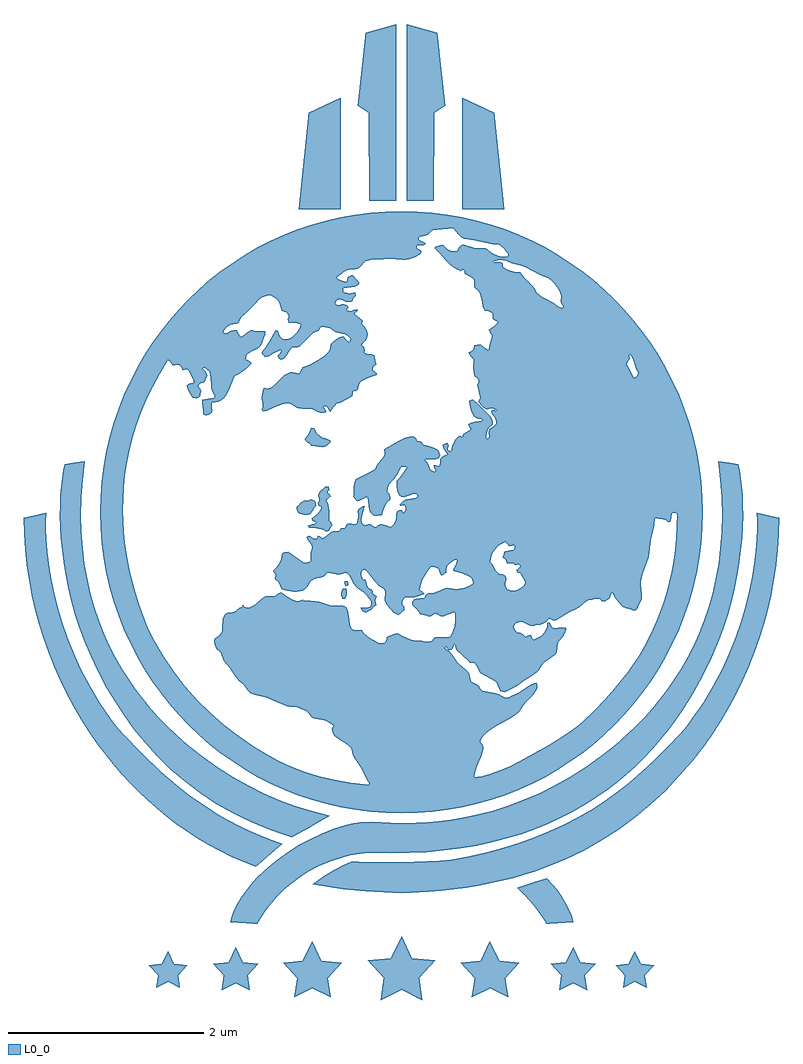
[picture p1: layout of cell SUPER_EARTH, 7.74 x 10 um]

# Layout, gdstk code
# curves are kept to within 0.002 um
import gdstk
lib = gdstk.Library(unit=1e-6, precision=1e-09)
def P(c, l, *ps):  # polygons
    for p in ps: c.add(gdstk.Polygon(p, *l))
L0_0 = (0, 0)

super_earth = lib.new_cell('SUPER_EARTH')
P(super_earth, L0_0, [(-1.499,-3.62),(-1.627,-3.569),(-1.75,-3.514),(-1.87,-3.455),(-1.986,-3.392),(-2.098,-3.325),(-2.207,-3.255),(-2.312,-3.181),(-2.414,-3.103),(-2.512,-3.022),(-2.607,-2.938),(-2.7,-2.85),(-2.875,-2.666),(-2.958,-2.569),(-3.038,-2.469),(-3.116,-2.367),(-3.203,-2.24),(-3.286,-2.111),(-3.363,-1.98),(-3.436,-1.846),(-3.503,-1.71),(-3.565,-1.571),(-3.621,-1.429),(-3.672,-1.285),(-3.718,-1.138),(-3.758,-0.989),(-3.793,-0.838),(-3.821,-0.683),(-3.844,-0.527),(-3.861,-0.368),(-3.872,-0.206),(-3.876,-0.042),(-3.645,0.007),(-3.649,-0.071),(-3.645,-0.268),(-3.636,-0.385),(-3.621,-0.513),(-3.599,-0.65),(-3.57,-0.795),(-3.533,-0.947),(-3.487,-1.105),(-3.432,-1.267),(-3.366,-1.432),(-3.29,-1.598),(-3.202,-1.766),(-3.101,-1.932),(-2.988,-2.096),(-2.86,-2.257),(-2.664,-2.461),(-2.47,-2.645),(-2.277,-2.809),(-2.082,-2.955),(-1.882,-3.084),(-1.779,-3.143),(-1.567,-3.249),(-1.457,-3.297),(-1.344,-3.342),(-1.228,-3.383)],
  [(2.264,-4.857),(2.283,-4.728),(2.19,-4.626),(2.322,-4.612),(2.385,-4.483),(2.446,-4.613),(2.581,-4.626),(2.488,-4.728),(2.507,-4.857),(2.386,-4.796)],
  [(1.61,-4.884),(1.632,-4.733),(1.522,-4.613),(1.678,-4.597),(1.752,-4.445),(1.752,-4.445),(1.824,-4.597),(1.983,-4.613),(1.873,-4.733),(1.895,-4.884),(1.753,-4.813)],
  [(-2.519,-4.857),(-2.5,-4.728),(-2.594,-4.626),(-2.461,-4.612),(-2.398,-4.483),(-2.398,-4.483),(-2.337,-4.613),(-2.202,-4.626),(-2.295,-4.728),(-2.276,-4.857),(-2.397,-4.796)],
  [(-1.846,-4.884),(-1.825,-4.733),(-1.934,-4.613),(-1.778,-4.597),(-1.704,-4.445),(-1.704,-4.445),(-1.633,-4.597),(-1.474,-4.613),(-1.583,-4.733),(-1.561,-4.884),(-1.704,-4.813)],
  [(0.715,-4.956),(0.743,-4.759),(0.601,-4.603),(0.804,-4.582),(0.9,-4.384),(0.9,-4.384),(0.993,-4.582),(1.201,-4.603),(1.058,-4.759),(1.086,-4.956),(0.901,-4.864)],
  [(-1.105,-4.956),(-1.076,-4.759),(-1.219,-4.603),(-1.016,-4.582),(-0.919,-4.384),(-0.919,-4.384),(-0.826,-4.582),(-0.619,-4.603),(-0.762,-4.759),(-0.733,-4.956),(-0.919,-4.864)],
  [(-0.219,-4.984),(-0.186,-4.758),(-0.35,-4.579),(-0.117,-4.555),(-0.006,-4.329),(-0.006,-4.329),(0.1,-4.556),(0.338,-4.579),(0.174,-4.758),(0.207,-4.984),(-0.006,-4.878)],
  [(-0.583,-0.746),(-0.589,-0.716),(-0.589,-0.716),(-0.591,-0.708),(-0.589,-0.692),(-0.559,-0.692),(-0.554,-0.713),(-0.553,-0.734),(-0.565,-0.741)],
  [(-0.613,-0.874),(-0.613,-0.862),(-0.622,-0.841),(-0.622,-0.816),(-0.616,-0.792),(-0.607,-0.771),(-0.571,-0.771),(-0.565,-0.819),(-0.57,-0.843),(-0.583,-0.868),(-0.583,-0.874),(-0.599,-0.871)],
  [(-0.98,-0.015),(-1.007,-0.012),(-1.057,0.001),(-1.078,0.046),(-1.081,0.068),(-1.021,0.123),(-0.996,0.134),(-0.981,0.129),(-0.966,0.131),(-0.941,0.146),(-0.922,0.143),(-0.907,0.136),(-0.895,0.125),(-0.882,0.098),(-0.881,0.08),(-0.936,0.005),(-0.947,-0.005),(-0.96,-0.011)],
  [(-0.816,0.68),(-0.854,0.682),(-0.929,0.693),(-0.948,0.713),(-0.983,0.74),(-0.996,0.76),(-0.958,0.819),(-0.929,0.881),(-0.899,0.875),(-0.885,0.84),(-0.867,0.815),(-0.844,0.796),(-0.814,0.778),(-0.762,0.763),(-0.742,0.753),(-0.734,0.743),(-0.729,0.73),(-0.77,0.696),(-0.783,0.687)],
  [(-0.777,-0.188),(-0.792,-0.176),(-0.81,-0.167),(-0.854,-0.154),(-0.903,-0.147),(-0.953,-0.145),(-0.966,-0.127),(-0.896,-0.103),(-0.881,-0.09),(-0.909,-0.078),(-0.918,-0.067),(-0.923,-0.048),(-0.896,-0.029),(-0.865,0),(-0.839,0.035),(-0.83,0.052),(-0.826,0.068),(-0.841,0.073),(-0.852,0.081),(-0.862,0.11),(-0.847,0.131),(-0.859,0.186),(-0.856,0.201),(-0.845,0.221),(-0.789,0.274),(-0.753,0.274),(-0.747,0.238),(-0.759,0.229),(-0.759,0.201),(-0.745,0.2),(-0.735,0.183),(-0.729,0.183),(-0.727,0.179),(-0.735,0.177),(-0.769,0.144),(-0.777,0.128),(-0.764,0.112),(-0.755,0.088),(-0.745,0.03),(-0.744,-0.029),(-0.747,-0.072),(-0.726,-0.09),(-0.72,-0.102),(-0.717,-0.121),(-0.732,-0.139),(-0.741,-0.16),(-0.753,-0.178)],
  [(-0.006,-3.888),(-0.371,-3.87),(-0.601,-3.85),(-0.76,-3.826),(-0.913,-3.797),(-0.8,-3.715),(-0.7,-3.654),(-0.605,-3.605),(-0.511,-3.565),(-0.373,-3.572),(-0.006,-3.571),(0.385,-3.558),(0.505,-3.547),(0.692,-3.509),(0.871,-3.468),(1.041,-3.422),(1.203,-3.372),(1.359,-3.317),(1.509,-3.257),(1.654,-3.191),(1.794,-3.118),(1.931,-3.039),(2.064,-2.953),(2.196,-2.859),(2.326,-2.756),(2.456,-2.645),(2.585,-2.526),(2.716,-2.396),(2.848,-2.257),(2.914,-2.177),(2.975,-2.096),(3.089,-1.932),(3.19,-1.766),(3.278,-1.598),(3.354,-1.432),(3.42,-1.267),(3.475,-1.105),(3.521,-0.947),(3.558,-0.795),(3.587,-0.65),(3.609,-0.513),(3.624,-0.385),(3.633,-0.268),(3.637,-0.163),(3.637,-0.071),(3.633,0.007),(3.864,-0.042),(3.86,-0.206),(3.849,-0.368),(3.832,-0.527),(3.809,-0.683),(3.781,-0.838),(3.746,-0.989),(3.706,-1.138),(3.66,-1.285),(3.609,-1.429),(3.553,-1.571),(3.491,-1.71),(3.424,-1.846),(3.351,-1.98),(3.274,-2.111),(3.191,-2.24),(3.104,-2.367),(2.977,-2.531),(2.842,-2.689),(2.7,-2.838),(2.55,-2.979),(2.391,-3.111),(2.224,-3.235),(2.048,-3.349),(1.862,-3.453),(1.667,-3.547),(1.565,-3.59),(1.354,-3.668),(1.133,-3.735),(1.018,-3.764),(0.779,-3.813),(0.656,-3.834),(0.4,-3.865),(0.268,-3.876)],
  [(-1.059,3.116),(-0.955,4.108),(-0.627,4.261),(-0.627,3.116)],
  [(-0.335,3.202),(-0.341,4.108),(-0.456,4.175),(-0.371,4.924),(-0.061,5.015),(-0.061,3.202)],
  [(0.615,3.116),(0.615,4.261),(0.943,4.108),(1.047,3.116)],
  [(0.049,3.202),(0.049,5.015),(0.359,4.924),(0.444,4.175),(0.329,4.108),(0.323,3.202)],
  [(1.479,-4.204),(1.407,-4.089),(1.366,-4.033),(1.315,-3.97),(1.253,-3.904),(1.181,-3.835),(1.331,-3.783),(1.482,-3.735),(1.538,-3.796),(1.588,-3.857),(1.631,-3.917),(1.668,-3.976),(1.699,-4.033),(1.723,-4.087),(1.741,-4.138),(1.753,-4.186)],
  [(-1.129,-3.316),(-1.342,-3.246),(-1.443,-3.206),(-1.542,-3.164),(-1.73,-3.072),(-1.907,-2.971),(-2.073,-2.861),(-2.228,-2.743),(-2.373,-2.618),(-2.508,-2.487),(-2.632,-2.35),(-2.747,-2.208),(-2.853,-2.063),(-2.95,-1.914),(-3.039,-1.763),(-3.119,-1.61),(-3.191,-1.456),(-3.256,-1.302),(-3.307,-1.164),(-3.351,-1.028),(-3.389,-0.892),(-3.421,-0.758),(-3.447,-0.627),(-3.468,-0.498),(-3.484,-0.373),(-3.502,-0.136),(-3.505,-0.024),(-3.5,0.181),(-3.483,0.359),(-3.471,0.437),(-3.456,0.506),(-3.25,0.536),(-3.272,0.346),(-3.286,0.161),(-3.29,-0.017),(-3.286,-0.189),(-3.274,-0.354),(-3.254,-0.514),(-3.227,-0.668),(-3.194,-0.817),(-3.154,-0.959),(-3.108,-1.096),(-3.056,-1.228),(-2.999,-1.354),(-2.938,-1.474),(-2.872,-1.59),(-2.802,-1.7),(-2.729,-1.805),(-2.653,-1.905),(-2.574,-2),(-2.493,-2.091),(-2.326,-2.257),(-2.24,-2.334),(-2.068,-2.473),(-1.897,-2.595),(-1.731,-2.701),(-1.572,-2.791),(-1.424,-2.866),(-1.258,-2.936),(-1.089,-2.998),(-0.917,-3.051),(-0.741,-3.095),(-0.942,-3.214)],
  [(-1.485,-4.204),(-1.759,-4.186),(-1.745,-4.131),(-1.723,-4.071),(-1.692,-4.008),(-1.654,-3.942),(-1.606,-3.874),(-1.551,-3.804),(-1.487,-3.734),(-1.416,-3.663),(-1.336,-3.593),(-1.249,-3.525),(-1.154,-3.459),(-1.051,-3.396),(-0.941,-3.337),(-0.823,-3.282),(-0.698,-3.232),(-0.566,-3.188),(-0.497,-3.173),(-0.421,-3.164),(-0.304,-3.158),(-0.123,-3.169),(0.045,-3.172),(0.146,-3.17),(0.256,-3.164),(0.376,-3.153),(0.505,-3.136),(0.641,-3.113),(0.784,-3.082),(0.934,-3.043),(1.089,-2.994),(1.248,-2.935),(1.412,-2.866),(1.56,-2.791),(1.719,-2.701),(1.885,-2.595),(2.056,-2.473),(2.228,-2.334),(2.314,-2.257),(2.481,-2.091),(2.562,-2),(2.641,-1.905),(2.717,-1.805),(2.79,-1.7),(2.86,-1.59),(2.926,-1.474),(2.987,-1.354),(3.044,-1.228),(3.096,-1.096),(3.142,-0.959),(3.182,-0.817),(3.215,-0.668),(3.242,-0.514),(3.262,-0.354),(3.274,-0.189),(3.278,-0.017),(3.274,0.161),(3.26,0.346),(3.238,0.536),(3.444,0.506),(3.459,0.437),(3.471,0.359),(3.488,0.181),(3.493,-0.024),(3.483,-0.252),(3.472,-0.373),(3.456,-0.498),(3.435,-0.627),(3.409,-0.758),(3.377,-0.892),(3.339,-1.028),(3.295,-1.164),(3.244,-1.302),(3.155,-1.51),(3.105,-1.613),(2.994,-1.82),(2.869,-2.022),(2.727,-2.219),(2.65,-2.315),(2.568,-2.409),(2.483,-2.5),(2.392,-2.589),(2.297,-2.675),(2.198,-2.758),(2.093,-2.838),(1.984,-2.914),(1.87,-2.986),(1.75,-3.055),(1.626,-3.119),(1.496,-3.179),(1.36,-3.234),(1.22,-3.284),(1.073,-3.329),(0.921,-3.369),(0.764,-3.403),(0.6,-3.431),(0.43,-3.452),(0.254,-3.468),(0.072,-3.477),(-0.116,-3.479),(-0.31,-3.474),(-0.387,-3.48),(-0.533,-3.503),(-0.601,-3.519),(-0.73,-3.56),(-0.847,-3.609),(-0.954,-3.665),(-1.05,-3.726),(-1.136,-3.791),(-1.212,-3.857),(-1.278,-3.923),(-1.334,-3.986),(-1.419,-4.097)],
  [(-0.006,-3.072),(-0.165,-3.068),(-0.321,-3.056),(-0.476,-3.037),(-0.628,-3.01),(-0.777,-2.975),(-0.923,-2.934),(-1.067,-2.885),(-1.207,-2.83),(-1.344,-2.768),(-1.477,-2.7),(-1.606,-2.626),(-1.731,-2.545),(-1.852,-2.459),(-1.969,-2.368),(-2.08,-2.271),(-2.188,-2.169),(-2.29,-2.062),(-2.387,-1.95),(-2.478,-1.833),(-2.564,-1.712),(-2.645,-1.587),(-2.719,-1.458),(-2.787,-1.325),(-2.849,-1.188),(-2.904,-1.048),(-2.953,-0.905),(-2.994,-0.758),(-3.029,-0.609),(-3.056,-0.457),(-3.075,-0.303),(-3.087,-0.146),(-3.091,0.013),(-3.087,0.172),(-3.075,0.328),(-3.056,0.483),(-3.029,0.635),(-2.994,0.784),(-2.953,0.93),(-2.904,1.074),(-2.849,1.214),(-2.787,1.351),(-2.719,1.484),(-2.645,1.613),(-2.564,1.738),(-2.478,1.859),(-2.387,1.975),(-2.29,2.087),(-2.188,2.195),(-2.08,2.297),(-1.969,2.394),(-1.852,2.485),(-1.731,2.571),(-1.606,2.652),(-1.477,2.726),(-1.344,2.794),(-1.207,2.856),(-1.034,2.922),(0.522,2.922),(0.316,2.904),(0.297,2.893),(0.267,2.862),(0.249,2.849),(0.193,2.838),(0.176,2.831),(0.171,2.821),(0.17,2.807),(0.23,2.773),(0.243,2.758),(0.22,2.75),(0.2,2.747),(0.152,2.746),(0.152,2.722),(0.2,2.685),(0.188,2.655),(0.129,2.627),(0.067,2.606),(0.035,2.601),(0.002,2.6),(-0.131,2.611),(-0.194,2.606),(-0.291,2.606),(-0.336,2.597),(-0.376,2.582),(-0.396,2.564),(-0.432,2.523),(-0.455,2.509),(-0.48,2.503),(-0.527,2.502),(-0.553,2.497),(-0.586,2.483),(-0.615,2.463),(-0.668,2.418),(-0.662,2.406),(-0.641,2.395),(-0.582,2.376),(-0.565,2.375),(-0.559,2.418),(-0.522,2.439),(-0.504,2.442),(-0.472,2.401),(-0.437,2.363),(-0.447,2.342),(-0.485,2.325),(-0.601,2.309),(-0.601,2.272),(-0.586,2.264),(-0.546,2.254),(-0.48,2.266),(-0.474,2.23),(-0.502,2.204),(-0.512,2.177),(-0.522,2.172),(-0.577,2.169),(-0.606,2.186),(-0.623,2.191),(-0.657,2.191),(-0.671,2.183),(-0.681,2.17),(-0.686,2.151),(-0.667,2.138),(-0.638,2.132),(-0.62,2.142),(-0.598,2.143),(-0.576,2.137),(-0.559,2.126),(-0.553,2.108),(-0.565,2.084),(-0.547,2.075),(-0.522,2.072),(-0.507,2.082),(-0.49,2.088),(-0.455,2.09),(-0.455,2.078),(-0.462,2.078),(-0.467,2.069),(-0.479,2.061),(-0.486,2.047),(-0.492,2.047),(-0.494,2.044),(-0.486,2.041),(-0.401,1.974),(-0.413,1.944),(-0.386,1.919),(-0.363,1.879),(-0.356,1.857),(-0.353,1.834),(-0.355,1.812),(-0.364,1.792),(-0.376,1.772),(-0.403,1.745),(-0.413,1.725),(-0.395,1.711),(-0.387,1.695),(-0.385,1.674),(-0.389,1.646),(-0.364,1.637),(-0.311,1.63),(-0.285,1.622),(-0.267,1.525),(-0.294,1.502),(-0.3,1.486),(-0.298,1.47),(-0.287,1.456),(-0.263,1.44),(-0.255,1.422),(-0.355,1.385),(-0.406,1.362),(-0.425,1.348),(-0.437,1.331),(-0.456,1.27),(-0.468,1.258),(-0.477,1.255),(-0.498,1.258),(-0.506,1.231),(-0.51,1.203),(-0.632,1.136),(-0.674,1.124),(-0.735,1.045),(-0.747,1.051),(-0.762,1.085),(-0.771,1.094),(-0.79,1.1),(-0.808,1.088),(-0.777,1.051),(-0.783,1.039),(-0.796,1.034),(-0.84,1.031),(-0.868,1.042),(-0.917,1.07),(-0.949,1.075),(-1.022,1.071),(-1.057,1.076),(-1.079,1.086),(-1.124,1.114),(-1.148,1.124),(-1.168,1.128),(-1.188,1.128),(-1.229,1.121),(-1.271,1.106),(-1.384,1.054),(-1.412,1.047),(-1.424,1.047),(-1.433,1.051),(-1.439,1.07),(-1.43,1.087),(-1.426,1.103),(-1.436,1.171),(-1.436,1.192),(-1.421,1.276),(-1.409,1.288),(-1.372,1.279),(-1.36,1.282),(-1.334,1.296),(-1.308,1.316),(-1.205,1.415),(-1.177,1.434),(-1.148,1.446),(-1.123,1.447),(-1.051,1.434),(-1.02,1.501),(-0.985,1.51),(-0.946,1.525),(-0.863,1.569),(-0.789,1.621),(-0.76,1.647),(-0.741,1.671),(-0.729,1.732),(-0.709,1.756),(-0.676,1.783),(-0.637,1.806),(-0.601,1.817),(-0.574,1.78),(-0.555,1.765),(-0.534,1.756),(-0.528,1.792),(-0.568,1.827),(-0.583,1.835),(-0.656,1.851),(-0.68,1.859),(-0.735,1.896),(-0.786,1.909),(-0.826,1.914),(-0.838,1.905),(-0.847,1.882),(-0.856,1.871),(-0.911,1.853),(-1.051,1.707),(-1.067,1.703),(-1.105,1.705),(-1.123,1.701),(-1.139,1.69),(-1.187,1.614),(-1.203,1.596),(-1.221,1.582),(-1.245,1.574),(-1.264,1.59),(-1.275,1.616),(-1.252,1.639),(-1.244,1.653),(-1.239,1.671),(-1.264,1.667),(-1.286,1.659),(-1.365,1.613),(-1.386,1.606),(-1.409,1.604),(-1.417,1.619),(-1.433,1.636),(-1.439,1.653),(-1.397,1.704),(-1.361,1.759),(-1.294,1.877),(-1.275,1.871),(-1.258,1.826),(-1.245,1.806),(-1.227,1.792),(-1.2,1.783),(-1.17,1.787),(-1.138,1.801),(-1.108,1.823),(-1.08,1.851),(-1.058,1.881),(-1.043,1.911),(-1.038,1.938),(-1.077,1.953),(-1.103,1.956),(-1.16,1.956),(-1.168,1.971),(-1.172,1.993),(-1.161,2.009),(-1.16,2.023),(-1.171,2.046),(-1.187,2.06),(-1.233,2.078),(-1.254,2.151),(-1.269,2.181),(-1.294,2.205),(-1.348,2.236),(-1.387,2.232),(-1.418,2.223),(-1.444,2.209),(-1.466,2.192),(-1.543,2.108),(-1.599,2.058),(-1.652,2.005),(-1.673,1.962),(-1.682,1.95),(-1.696,1.943),(-1.749,1.938),(-1.776,1.926),(-1.802,1.906),(-1.823,1.881),(-1.834,1.853),(-1.792,1.847),(-1.773,1.86),(-1.75,1.87),(-1.694,1.877),(-1.676,1.842),(-1.652,1.811),(-1.612,1.833),(-1.567,1.869),(-1.551,1.875),(-1.53,1.877),(-1.503,1.867),(-1.403,1.865),(-1.403,1.829),(-1.417,1.802),(-1.437,1.741),(-1.451,1.713),(-1.469,1.696),(-1.492,1.682),(-1.564,1.647),(-1.584,1.631),(-1.597,1.609),(-1.603,1.58),(-1.572,1.564),(-1.543,1.543),(-1.549,1.531),(-1.597,1.482),(-1.652,1.44),(-1.7,1.415),(-1.713,1.404),(-1.741,1.352),(-1.791,1.23),(-1.805,1.205),(-1.822,1.185),(-1.851,1.161),(-1.883,1.143),(-1.943,1.136),(-1.948,1.127),(-1.949,1.114),(-1.946,1.055),(-1.949,1.033),(-1.963,1.022),(-1.982,1.012),(-2.001,1.007),(-2.035,1.015),(-2.048,1.13),(-2.047,1.167),(-1.925,1.185),(-1.919,1.209),(-1.936,1.231),(-1.947,1.256),(-1.954,1.285),(-1.968,1.452),(-2.018,1.488),(-2.041,1.495),(-2.041,1.483),(-2.013,1.453),(-2.003,1.434),(-1.998,1.41),(-2.022,1.349),(-2.042,1.338),(-2.062,1.332),(-2.079,1.322),(-2.085,1.313),(-2.089,1.3),(-2.069,1.278),(-2.059,1.246),(-2.075,1.196),(-2.089,1.185),(-2.102,1.18),(-2.144,1.185),(-2.196,1.276),(-2.205,1.313),(-2.181,1.33),(-2.167,1.335),(-2.144,1.337),(-2.144,1.331),(-2.14,1.329),(-2.133,1.346),(-2.132,1.361),(-2.149,1.39),(-2.18,1.456),(-2.191,1.468),(-2.205,1.477),(-2.247,1.47),(-2.268,1.509),(-2.285,1.521),(-2.314,1.525),(-2.329,1.52),(-2.35,1.519),(-2.368,1.549),(-2.381,1.561),(-2.399,1.568),(-2.483,1.433),(-2.556,1.299),(-2.621,1.166),(-2.677,1.033),(-2.724,0.902),(-2.764,0.771),(-2.796,0.643),(-2.821,0.516),(-2.839,0.391),(-2.852,0.268),(-2.859,0.149),(-2.86,0.032),(-2.857,-0.082),(-2.84,-0.299),(-2.826,-0.402),(-2.79,-0.595),(-2.746,-0.769),(-2.699,-0.923),(-2.652,-1.053),(-2.609,-1.159),(-2.539,-1.305),(-2.441,-1.47),(-2.334,-1.626),(-2.219,-1.773),(-2.097,-1.911),(-1.966,-2.041),(-1.827,-2.163),(-1.68,-2.278),(-1.524,-2.386),(-1.398,-2.463),(-1.27,-2.532),(-1.138,-2.593),(-1.001,-2.647),(-0.854,-2.692),(-0.697,-2.73),(-0.526,-2.76),(-0.34,-2.781),(-0.334,-2.757),(-0.35,-2.742),(-0.363,-2.724),(-0.425,-2.599),(-0.488,-2.504),(-0.504,-2.471),(-0.515,-2.42),(-0.522,-2.404),(-0.546,-2.379),(-0.574,-2.357),(-0.667,-2.299),(-0.693,-2.275),(-0.712,-2.244),(-0.723,-2.204),(-0.708,-2.192),(-0.698,-2.174),(-0.745,-2.144),(-0.796,-2.119),(-0.827,-2.112),(-0.884,-2.105),(-0.911,-2.095),(-0.929,-2.081),(-0.961,-2.043),(-0.978,-2.028),(-1.026,-2.004),(-1.075,-1.985),(-1.1,-1.98),(-1.151,-1.978),(-1.178,-1.973),(-1.228,-1.955),(-1.379,-1.888),(-1.509,-1.857),(-1.549,-1.84),(-1.568,-1.824),(-1.615,-1.761),(-1.632,-1.743),(-1.672,-1.711),(-1.688,-1.694),(-1.767,-1.578),(-1.828,-1.506),(-1.858,-1.421),(-1.901,-1.39),(-1.92,-1.34),(-1.926,-1.312),(-1.925,-1.293),(-1.915,-1.278),(-1.871,-1.25),(-1.84,-1.208),(-1.839,-1.102),(-1.828,-1.057),(-1.818,-1.039),(-1.804,-1.026),(-1.785,-1.018),(-1.74,-1.014),(-1.719,-1.008),(-1.661,-0.964),(-1.634,-0.953),(-1.635,-0.939),(-1.622,-0.935),(-1.625,-0.946),(-1.6,-0.96),(-1.585,-0.964),(-1.554,-0.96),(-1.523,-0.947),(-1.494,-0.926),(-1.42,-0.861),(-1.403,-0.85),(-1.306,-0.85),(-1.289,-0.839),(-1.278,-0.826),(-1.263,-0.815),(-1.239,-0.807),(-1.206,-0.834),(-1.165,-0.86),(-1.122,-0.883),(-1.081,-0.898),(-1.062,-0.9),(-1.02,-0.886),(-1.014,-0.886),(-1.014,-0.892),(-0.975,-0.896),(-0.892,-0.898),(-0.85,-0.904),(-0.741,-0.941),(-0.694,-0.946),(-0.606,-0.945),(-0.588,-0.95),(-0.571,-0.959),(-0.555,-0.994),(-0.549,-1.022),(-0.534,-1.142),(-0.525,-1.166),(-0.51,-1.184),(-0.487,-1.196),(-0.462,-1.198),(-0.413,-1.19),(-0.406,-1.208),(-0.386,-1.231),(-0.357,-1.257),(-0.282,-1.305),(-0.245,-1.322),(-0.212,-1.331),(-0.188,-1.329),(-0.171,-1.317),(-0.161,-1.299),(-0.152,-1.263),(-0.074,-1.232),(-0.042,-1.226),(-0.002,-1.254),(0.042,-1.275),(0.092,-1.291),(0.146,-1.305),(0.201,-1.305),(0.27,-1.315),(0.292,-1.311),(0.307,-1.301),(0.332,-1.275),(0.346,-1.269),(0.457,-1.267),(0.492,-1.263),(0.518,-1.211),(0.537,-1.155),(0.547,-1.092),(0.547,-1.02),(0.535,-1.014),(0.425,-1.05),(0.409,-1.052),(0.395,-1.05),(0.35,-1.029),(0.337,-1.028),(0.322,-1.032),(0.292,-1.052),(0.273,-1.056),(0.234,-1.04),(0.188,-1.032),(0.15,-0.979),(0.103,-0.935),(0.106,-0.91),(0.115,-0.892),(0.127,-0.88),(0.144,-0.873),(0.231,-0.862),(0.239,-0.84),(0.245,-0.832),(0.27,-0.818),(0.328,-0.813),(0.443,-0.765),(0.464,-0.762),(0.555,-0.774),(0.586,-0.773),(0.643,-0.762),(0.692,-0.742),(0.729,-0.716),(0.717,-0.676),(0.707,-0.66),(0.661,-0.632),(0.613,-0.613),(0.522,-0.588),(0.531,-0.562),(0.556,-0.515),(0.565,-0.479),(0.541,-0.473),(0.476,-0.519),(0.456,-0.55),(0.451,-0.575),(0.45,-0.607),(0.443,-0.607),(0.422,-0.626),(0.41,-0.631),(0.401,-0.631),(0.39,-0.618),(0.377,-0.564),(0.335,-0.55),(0.292,-0.546),(0.222,-0.651),(0.194,-0.712),(0.186,-0.746),(0.182,-0.783),(0.208,-0.799),(0.225,-0.825),(0.128,-0.859),(0.103,-0.862),(0.06,-0.856),(0.043,-0.857),(0.029,-0.862),(0.017,-0.872),(0.008,-0.887),(0,-0.935),(0.02,-0.954),(0.024,-0.989),(-0.04,-1.04),(-0.083,-1.016),(-0.123,-0.978),(-0.156,-0.934),(-0.176,-0.892),(-0.179,-0.865),(-0.17,-0.814),(-0.176,-0.789),(-0.189,-0.772),(-0.243,-0.734),(-0.262,-0.717),(-0.353,-0.6),(-0.373,-0.582),(-0.395,-0.57),(-0.395,-0.576),(-0.408,-0.587),(-0.416,-0.6),(-0.419,-0.643),(-0.401,-0.673),(-0.37,-0.686),(-0.358,-0.746),(-0.347,-0.76),(-0.304,-0.789),(-0.3,-0.798),(-0.304,-0.819),(-0.261,-0.85),(-0.271,-0.871),(-0.273,-0.889),(-0.267,-0.941),(-0.318,-0.985),(-0.346,-1.003),(-0.383,-1.014),(-0.419,-0.983),(-0.425,-0.965),(-0.37,-0.965),(-0.346,-0.961),(-0.328,-0.953),(-0.317,-0.931),(-0.316,-0.898),(-0.368,-0.832),(-0.448,-0.769),(-0.474,-0.744),(-0.498,-0.716),(-0.53,-0.649),(-0.54,-0.634),(-0.552,-0.621),(-0.568,-0.612),(-0.589,-0.607),(-0.609,-0.618),(-0.63,-0.624),(-0.653,-0.625),(-0.771,-0.607),(-0.789,-0.632),(-0.806,-0.647),(-0.838,-0.659),(-0.894,-0.668),(-0.917,-0.68),(-0.94,-0.701),(-0.975,-0.755),(-0.996,-0.777),(-1.02,-0.791),(-1.048,-0.798),(-1.079,-0.801),(-1.112,-0.8),(-1.177,-0.79),(-1.233,-0.777),(-1.263,-0.704),(-1.3,-0.673),(-1.302,-0.661),(-1.294,-0.64),(-1.294,-0.631),(-1.298,-0.621),(-1.313,-0.603),(-1.318,-0.588),(-1.293,-0.563),(-1.253,-0.503),(-1.239,-0.467),(-1.232,-0.424),(-1.227,-0.412),(-1.201,-0.399),(-1.166,-0.394),(-1.008,-0.503),(-0.988,-0.505),(-0.946,-0.494),(-0.935,-0.485),(-0.935,-0.394),(-0.924,-0.37),(-0.922,-0.348),(-0.926,-0.329),(-0.95,-0.291),(1.057,-0.291),(1.001,-0.321),(0.976,-0.341),(0.952,-0.366),(0.933,-0.393),(0.918,-0.425),(0.908,-0.459),(0.905,-0.497),(0.923,-0.518),(0.966,-0.594),(0.981,-0.608),(0.997,-0.616),(1.045,-0.63),(1.057,-0.64),(1.066,-0.658),(1.069,-0.686),(1.058,-0.71),(1.059,-0.735),(1.075,-0.783),(1.093,-0.783),(1.114,-0.791),(1.139,-0.792),(1.168,-0.786),(1.196,-0.776),(1.222,-0.761),(1.243,-0.743),(1.258,-0.724),(1.263,-0.704),(1.215,-0.619),(1.201,-0.609),(1.18,-0.6),(1.172,-0.582),(1.194,-0.562),(1.203,-0.55),(1.209,-0.534),(1.196,-0.522),(1.166,-0.528),(1.155,-0.526),(1.136,-0.509),(1.075,-0.516),(1.069,-0.493),(1.06,-0.476),(1.032,-0.449),(1.041,-0.422),(1.045,-0.394),(1.062,-0.385),(1.111,-0.376),(1.142,-0.376),(1.146,-0.364),(1.154,-0.358),(1.154,-0.327),(1.099,-0.333),(1.057,-0.291),(-0.95,-0.291),(-0.971,-0.259),(-0.978,-0.242),(-0.965,-0.235),(-0.947,-0.23),(-0.915,-0.254),(-0.897,-0.261),(-0.872,-0.257),(-0.862,-0.23),(-0.845,-0.235),(-0.824,-0.249),(-0.808,-0.254),(-0.723,-0.188),(-0.701,-0.183),(-0.662,-0.181),(-0.644,-0.175),(-0.625,-0.151),(-0.589,-0.151),(-0.565,-0.109),(-0.543,-0.104),(-0.491,-0.111),(-0.474,-0.109),(-0.463,-0.1),(-0.458,-0.091),(-0.45,-0.037),(-0.452,0.02),(-0.449,0.043),(-0.402,0.073),(-0.382,0.08),(-0.414,-0.037),(-0.417,-0.066),(-0.413,-0.091),(-0.401,-0.11),(-0.376,-0.121),(-0.364,-0.114),(-0.33,-0.11),(-0.316,-0.115),(-0.285,-0.135),(-0.267,-0.139),(-0.245,-0.122),(-0.225,-0.112),(-0.206,-0.11),(-0.189,-0.113),(-0.115,-0.139),(-0.082,-0.104),(-0.073,-0.09),(-0.065,-0.07),(-0.061,-0.048),(-0.059,-0.008),(-0.055,0.009),(-0.047,0.023),(-0.031,0.033),(-0.006,0.037),(0.004,0.017),(0.024,0.007),(2.77,0.007),(2.757,-0.028),(2.751,-0.068),(2.745,-0.084),(2.727,-0.09),(2.717,-0.077),(2.704,-0.068),(2.672,-0.057),(2.593,-0.048),(2.587,-0.054),(2.584,-0.113),(2.573,-0.167),(2.545,-0.267),(2.527,-0.443),(2.465,-0.614),(2.448,-0.673),(2.444,-0.698),(2.444,-0.725),(2.456,-0.836),(2.454,-0.88),(2.423,-0.935),(2.409,-0.977),(2.396,-0.989),(2.369,-0.995),(2.352,-0.986),(2.296,-0.971),(2.252,-0.944),(2.213,-0.905),(2.181,-0.86),(2.156,-0.813),(2.144,-0.819),(2.12,-0.874),(2.083,-0.898),(2.047,-0.898),(2.035,-0.882),(2.018,-0.875),(1.996,-0.873),(1.968,-0.874),(1.949,-0.882),(1.907,-0.891),(1.889,-0.898),(1.816,-0.959),(1.771,-0.985),(1.679,-1.03),(1.577,-1.092),(1.549,-1.099),(1.53,-1.085),(1.5,-1.08),(1.479,-1.107),(1.453,-1.126),(1.418,-1.138),(1.373,-1.141),(1.352,-1.15),(1.332,-1.152),(1.312,-1.149),(1.294,-1.142),(1.233,-1.111),(1.214,-1.109),(1.197,-1.112),(1.166,-1.123),(1.151,-1.144),(1.142,-1.172),(1.178,-1.22),(1.209,-1.22),(1.238,-1.239),(1.263,-1.263),(1.318,-1.244),(1.33,-1.271),(1.348,-1.293),(1.411,-1.264),(1.437,-1.245),(1.458,-1.22),(1.488,-1.165),(1.488,-1.123),(1.492,-1.119),(1.512,-1.117),(1.532,-1.16),(1.549,-1.173),(1.579,-1.178),(1.6,-1.169),(1.625,-1.166),(1.676,-1.172),(1.682,-1.184),(1.667,-1.227),(1.597,-1.323),(1.585,-1.421),(1.575,-1.436),(1.561,-1.451),(1.525,-1.48),(1.452,-1.53),(1.432,-1.552),(1.399,-1.605),(1.379,-1.627),(1.133,-1.791),(1.071,-1.822),(1.046,-1.829),(1.026,-1.827),(1.012,-1.819),(1.001,-1.807),(0.973,-1.744),(0.954,-1.718),(0.808,-1.639),(0.788,-1.614),(0.759,-1.552),(0.748,-1.539),(0.735,-1.53),(0.686,-1.524),(0.686,-1.518),(0.553,-1.396),(0.541,-1.335),(0.534,-1.342),(0.518,-1.382),(0.506,-1.395),(0.48,-1.402),(0.456,-1.372),(0.443,-1.366),(0.443,-1.384),(0.462,-1.394),(0.479,-1.408),(0.512,-1.445),(0.565,-1.524),(0.59,-1.55),(0.649,-1.595),(0.674,-1.621),(0.686,-1.644),(0.711,-1.724),(0.769,-1.753),(0.783,-1.767),(0.809,-1.806),(0.82,-1.815),(0.96,-1.84),(0.992,-1.853),(1.018,-1.869),(1.048,-1.882),(1.093,-1.888),(1.112,-1.872),(1.184,-1.84),(1.277,-1.78),(1.33,-1.751),(1.355,-1.741),(1.379,-1.736),(1.384,-1.763),(1.385,-1.791),(1.342,-1.858),(1.245,-1.961),(1.194,-2.038),(1.172,-2.058),(1.132,-2.084),(0.962,-2.178),(0.905,-2.213),(0.857,-2.251),(0.82,-2.291),(0.809,-2.311),(0.802,-2.332),(0.807,-2.348),(0.831,-2.388),(0.834,-2.402),(0.832,-2.417),(0.809,-2.486),(0.754,-2.626),(0.741,-2.702),(0.821,-2.691),(0.91,-2.667),(1.006,-2.632),(1.106,-2.588),(1.31,-2.484),(1.5,-2.374),(1.657,-2.276),(1.756,-2.21),(1.725,-2.234),(1.791,-2.187),(1.756,-2.21),(1.849,-2.134),(1.97,-2.02),(2.082,-1.901),(2.18,-1.789),(2.332,-1.603),(2.434,-1.447),(2.481,-1.364),(2.527,-1.279),(2.609,-1.1),(2.646,-1.006),(2.711,-0.807),(2.762,-0.596),(2.797,-0.371),(2.808,-0.253),(2.815,-0.131),(2.818,-0.005),(2.812,-0.005),(2.812,0.001),(2.77,0.007),(0.024,0.007),(0.024,0.013),(0.033,0.027),(0.036,0.044),(0.031,0.08),(0,0.086),(-0.01,0.078),(-0.018,0.08),(-0.024,0.092),(-0.009,0.103),(0.015,0.13),(0.031,0.14),(0.055,0.148),(0.146,0.159),(0.164,0.189),(0.158,0.189),(0.149,0.198),(0.137,0.202),(0.103,0.201),(0.078,0.187),(0.016,0.167),(-0.01,0.17),(-0.028,0.185),(-0.041,0.207),(-0.049,0.236),(-0.053,0.269),(-0.055,0.335),(-0.03,0.36),(0.049,0.468),(0.041,0.477),(0.03,0.481),(0,0.481),(-0.012,0.474),(-0.048,0.396),(-0.128,0.307),(-0.14,0.285),(-0.148,0.258),(-0.152,0.225),(-0.138,0.21),(-0.128,0.192),(-0.121,0.14),(-0.14,0.127),(-0.155,0.112),(-0.178,0.076),(-0.194,0.032),(-0.206,-0.017),(-0.252,-0.025),(-0.285,-0.022),(-0.308,-0.008),(-0.324,0.014),(-0.334,0.043),(-0.341,0.078),(-0.352,0.159),(-0.376,0.165),(-0.395,0.15),(-0.416,0.139),(-0.461,0.128),(-0.498,0.171),(-0.494,0.201),(-0.496,0.271),(-0.492,0.304),(-0.474,0.353),(-0.37,0.403),(-0.273,0.456),(-0.261,0.493),(-0.191,0.578),(-0.176,0.608),(-0.182,0.657),(-0.041,0.741),(0.034,0.774),(0.072,0.784),(0.11,0.79),(0.146,0.766),(0.152,0.742),(0.161,0.738),(0.195,0.736),(0.213,0.711),(0.238,0.7),(0.322,0.674),(0.347,0.662),(0.368,0.646),(0.382,0.625),(0.389,0.596),(0.377,0.566),(0.343,0.556),(0.237,0.553),(0.237,0.541),(0.257,0.524),(0.269,0.503),(0.286,0.45),(0.308,0.44),(0.328,0.426),(0.34,0.432),(0.346,0.45),(0.329,0.465),(0.322,0.493),(0.344,0.493),(0.373,0.486),(0.383,0.487),(0.388,0.5),(0.393,0.555),(0.399,0.568),(0.425,0.59),(0.456,0.602),(0.462,0.614),(0.446,0.631),(0.433,0.653),(0.424,0.678),(0.419,0.705),(0.437,0.717),(0.462,0.723),(0.474,0.709),(0.48,0.687),(0.47,0.674),(0.468,0.651),(0.483,0.643),(0.504,0.638),(0.515,0.687),(0.534,0.734),(0.56,0.773),(0.577,0.787),(0.595,0.796),(0.614,0.778),(0.622,0.8),(0.633,0.815),(0.659,0.835),(0.685,0.848),(0.705,0.869),(0.689,0.887),(0.68,0.912),(0.711,0.929),(0.746,0.94),(0.82,0.948),(0.814,0.966),(0.801,0.972),(0.77,0.974),(0.753,0.979),(0.741,0.989),(0.729,1.007),(0.708,1.055),(0.693,1.11),(0.687,1.155),(0.714,1.165),(0.729,1.167),(0.837,1.063),(0.896,1.003),(0.915,0.979),(0.923,0.96),(0.929,0.939),(0.93,0.912),(0.9,0.89),(0.879,0.863),(0.866,0.827),(0.863,0.778),(0.875,0.766),(0.881,0.766),(0.881,0.772),(0.891,0.783),(0.893,0.802),(0.887,0.819),(0.888,0.837),(0.899,0.869),(0.936,0.891),(0.966,0.918),(0.959,0.961),(0.911,1.051),(0.93,1.064),(0.972,1.051),(0.972,1.058),(0.93,1.076),(0.908,1.076),(0.879,1.066),(0.863,1.07),(0.838,1.083),(0.778,1.143),(0.797,1.171),(0.802,1.185),(0.772,1.319),(0.785,1.352),(0.784,1.367),(0.776,1.38),(0.741,1.416),(0.732,1.453),(0.73,1.492),(0.735,1.58),(0.701,1.61),(0.687,1.634),(2.326,1.634),(2.33,1.591),(2.326,1.574),(2.306,1.545),(2.302,1.525),(2.323,1.495),(2.356,1.423),(2.375,1.392),(2.402,1.404),(2.411,1.413),(2.416,1.426),(2.417,1.446),(2.404,1.467),(2.394,1.491),(2.37,1.574),(2.359,1.599),(2.345,1.62),(2.326,1.634),(0.687,1.634),(0.681,1.653),(0.711,1.664),(0.725,1.672),(0.735,1.683),(0.741,1.726),(0.802,1.732),(0.843,1.699),(0.887,1.671),(0.893,1.714),(0.916,1.787),(0.924,1.823),(0.902,1.851),(0.887,1.884),(0.943,1.921),(0.97,1.946),(0.984,1.969),(0.972,1.969),(0.949,1.979),(0.93,1.993),(0.927,2.006),(0.927,2.039),(0.923,2.054),(0.91,2.064),(0.845,2.078),(0.828,2.121),(0.811,2.213),(0.796,2.26),(0.784,2.277),(0.752,2.306),(0.741,2.321),(0.741,2.388),(0.725,2.408),(0.698,2.426),(0.644,2.454),(0.643,2.476),(0.638,2.491),(0.62,2.497),(0.608,2.485),(0.602,2.483),(0.558,2.5),(0.522,2.524),(0.488,2.553),(0.444,2.6),(0.996,2.6),(0.97,2.592),(0.941,2.588),(0.941,2.576),(0.992,2.577),(1.033,2.564),(1.03,2.545),(1.033,2.527),(1.106,2.487),(1.15,2.476),(1.209,2.473),(1.234,2.436),(1.261,2.404),(1.324,2.345),(1.345,2.321),(1.381,2.264),(1.403,2.242),(1.438,2.218),(1.549,2.157),(1.617,2.111),(1.646,2.102),(1.652,2.126),(1.637,2.144),(1.629,2.159),(1.626,2.185),(1.631,2.228),(1.628,2.248),(1.616,2.275),(1.599,2.304),(1.561,2.357),(1.533,2.387),(1.5,2.408),(1.421,2.442),(1.227,2.539),(1.124,2.564),(1.067,2.587),(1.036,2.596),(0.996,2.6),(0.444,2.6),(0.364,2.688),(0.334,2.716),(0.34,2.734),(0.394,2.75),(0.419,2.752),(0.446,2.723),(0.474,2.702),(0.511,2.689),(0.565,2.685),(0.587,2.732),(0.595,2.74),(0.605,2.747),(0.619,2.751),(0.638,2.752),(0.747,2.716),(0.856,2.716),(0.872,2.708),(0.911,2.673),(0.945,2.654),(0.982,2.641),(1.025,2.633),(1.075,2.631),(1.087,2.649),(1.087,2.661),(1.065,2.683),(1.023,2.735),(1.011,2.745),(0.996,2.752),(0.929,2.758),(0.741,2.801),(0.638,2.813),(0.606,2.832),(0.576,2.861),(0.522,2.922),(-1.034,2.922),(-0.923,2.959),(-0.777,3.001),(-0.628,3.036),(-0.476,3.063),(-0.321,3.082),(-0.165,3.094),(-0.006,3.098),(0.153,3.094),(0.309,3.082),(0.464,3.063),(0.616,3.036),(0.765,3.001),(0.911,2.959),(1.055,2.911),(1.195,2.856),(1.332,2.794),(1.465,2.726),(1.594,2.652),(1.719,2.571),(1.84,2.485),(1.957,2.394),(2.068,2.297),(2.176,2.195),(2.278,2.087),(2.375,1.975),(2.466,1.859),(2.552,1.738),(2.633,1.613),(2.707,1.484),(2.775,1.351),(2.837,1.214),(2.892,1.074),(2.941,0.93),(2.982,0.784),(3.017,0.635),(3.044,0.483),(3.063,0.328),(3.075,0.172),(3.079,0.013),(3.075,-0.146),(3.063,-0.303),(3.044,-0.457),(3.017,-0.609),(2.982,-0.758),(2.941,-0.905),(2.892,-1.048),(2.837,-1.188),(2.775,-1.325),(2.707,-1.458),(2.633,-1.587),(2.552,-1.712),(2.466,-1.833),(2.375,-1.95),(2.278,-2.062),(2.176,-2.169),(2.068,-2.271),(1.957,-2.368),(1.84,-2.459),(1.719,-2.545),(1.594,-2.626),(1.465,-2.7),(1.332,-2.768),(1.195,-2.83),(1.055,-2.885),(0.911,-2.934),(0.765,-2.975),(0.616,-3.01),(0.464,-3.037),(0.309,-3.056),(0.153,-3.068)])

lib.write_gds('SUPER_EARTH.gds')
